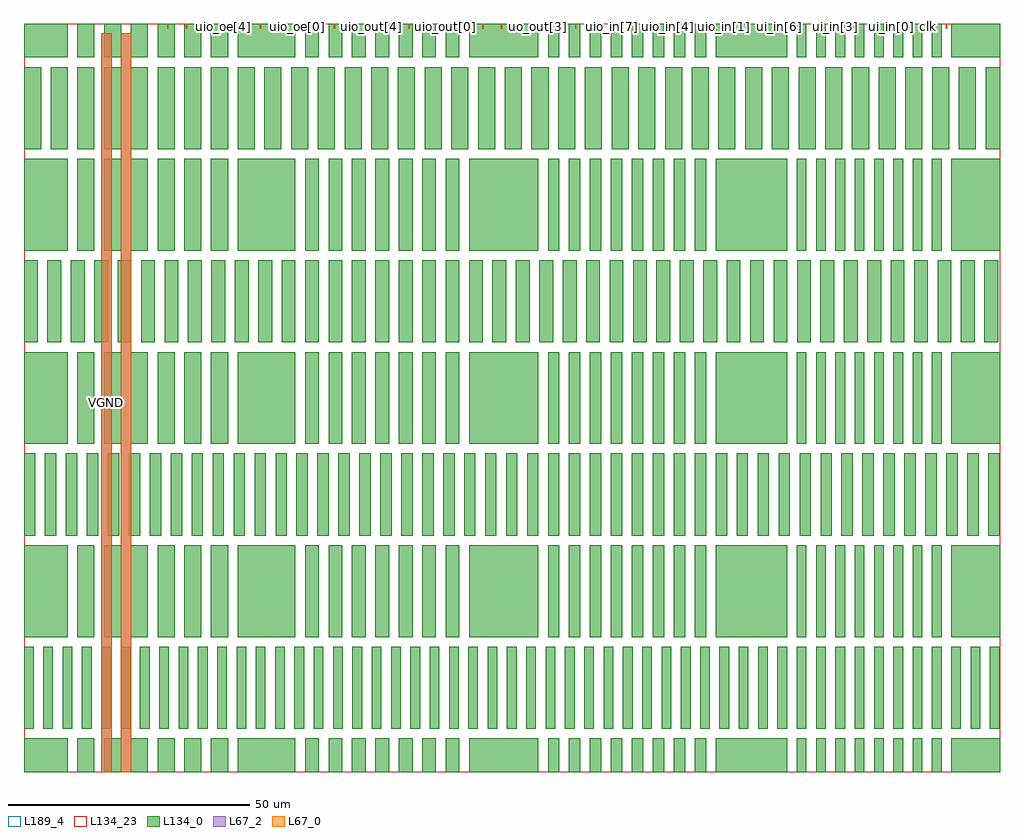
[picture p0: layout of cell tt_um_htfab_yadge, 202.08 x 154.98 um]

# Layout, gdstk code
import gdstk
lib = gdstk.Library(unit=1e-6, precision=1e-09)
def R(c, l, rs):  # rectangles x0, y0, x1, y1
    for r in rs: c.add(gdstk.rectangle(r[:2], r[2:], *l))
def A(c, l, x, y, w, h, nx, ny, dx, dy):  # array of equal rectangles
    R(c, l, [(x+i*dx, y+j*dy, x+i*dx+w, y+j*dy+h) for i in range(nx) for j in range(ny)])
L67_0 = (67, 0)
L67_2 = (67, 2)
L134_0 = (134, 0)
L134_23 = (134, 23)
L189_4 = (189, 4)

pattern_r0 = lib.new_cell('pattern_R0')
R(pattern_r0, L134_0, [(0,0,3.53,17)])

pattern_r1 = lib.new_cell('pattern_R1')
R(pattern_r1, L134_0, [(0,0,3.53,7)])

pattern_r2 = lib.new_cell('pattern_R2')
R(pattern_r2, L134_0, [(0,0,3.53,19)])

pattern_r3 = lib.new_cell('pattern_R3')
R(pattern_r3, L134_0, [(0,0,3.53,19)])

pattern_r4 = lib.new_cell('pattern_R4')
R(pattern_r4, L134_0, [(0,0,3.53,19)])

pattern_r5 = lib.new_cell('pattern_R5')
R(pattern_r5, L134_0, [(0,0,3.53,6.98)])

pattern_y0 = lib.new_cell('pattern_Y0')
R(pattern_y0, L134_0, [(0,0,2.85,17)])

pattern_y1 = lib.new_cell('pattern_Y1')
R(pattern_y1, L134_0, [(0,0,2.85,7)])

pattern_y2 = lib.new_cell('pattern_Y2')
R(pattern_y2, L134_0, [(0,0,2.85,19)])

pattern_y3 = lib.new_cell('pattern_Y3')
R(pattern_y3, L134_0, [(0,0,2.85,19)])

pattern_y4 = lib.new_cell('pattern_Y4')
R(pattern_y4, L134_0, [(0,0,2.85,19)])

pattern_y5 = lib.new_cell('pattern_Y5')
R(pattern_y5, L134_0, [(0,0,2.85,6.98)])

pattern_g0 = lib.new_cell('pattern_G0')
R(pattern_g0, L134_0, [(0,0,2.34,17)])

pattern_g1 = lib.new_cell('pattern_G1')
R(pattern_g1, L134_0, [(0,0,2.34,7)])

pattern_g2 = lib.new_cell('pattern_G2')
R(pattern_g2, L134_0, [(0,0,2.34,19)])

pattern_g3 = lib.new_cell('pattern_G3')
R(pattern_g3, L134_0, [(0,0,2.34,19)])

pattern_g4 = lib.new_cell('pattern_G4')
R(pattern_g4, L134_0, [(0,0,2.34,19)])

pattern_g5 = lib.new_cell('pattern_G5')
R(pattern_g5, L134_0, [(0,0,2.34,6.98)])

pattern_b0 = lib.new_cell('pattern_B0')
R(pattern_b0, L134_0, [(0,0,2,17)])

pattern_b1 = lib.new_cell('pattern_B1')
R(pattern_b1, L134_0, [(0,0,2,7)])

pattern_b2 = lib.new_cell('pattern_B2')
R(pattern_b2, L134_0, [(0,0,2,19)])

pattern_b3 = lib.new_cell('pattern_B3')
R(pattern_b3, L134_0, [(0,0,2,19)])

pattern_b4 = lib.new_cell('pattern_B4')
R(pattern_b4, L134_0, [(0,0,2,19)])

pattern_b5 = lib.new_cell('pattern_B5')
R(pattern_b5, L134_0, [(0,0,2,6.98)])

pattern_i0 = lib.new_cell('pattern_I0')
R(pattern_i0, L134_0, [(0,0,9.06,7)])

pattern_i1 = lib.new_cell('pattern_I1')
R(pattern_i1, L134_0, [(0,0,11.96,7)])

pattern_i2 = lib.new_cell('pattern_I2')
R(pattern_i2, L134_0, [(0,0,14.35,7)])

pattern_i3 = lib.new_cell('pattern_I3')
R(pattern_i3, L134_0, [(0,0,14.78,7)])

pattern_i4 = lib.new_cell('pattern_I4')
R(pattern_i4, L134_0, [(0,0,10.08,7)])

pattern_i5 = lib.new_cell('pattern_I5')
R(pattern_i5, L134_0, [(0,0,9.06,19)])

pattern_i6 = lib.new_cell('pattern_I6')
R(pattern_i6, L134_0, [(0,0,11.96,19)])

pattern_i7 = lib.new_cell('pattern_I7')
R(pattern_i7, L134_0, [(0,0,14.35,19)])

pattern_i8 = lib.new_cell('pattern_I8')
R(pattern_i8, L134_0, [(0,0,14.78,19)])

pattern_i9 = lib.new_cell('pattern_I9')
R(pattern_i9, L134_0, [(0,0,10.08,19)])

pattern_i10 = lib.new_cell('pattern_I10')
R(pattern_i10, L134_0, [(0,0,9.06,19)])

pattern_i11 = lib.new_cell('pattern_I11')
R(pattern_i11, L134_0, [(0,0,11.96,19)])

pattern_i12 = lib.new_cell('pattern_I12')
R(pattern_i12, L134_0, [(0,0,14.35,19)])

pattern_i13 = lib.new_cell('pattern_I13')
R(pattern_i13, L134_0, [(0,0,14.78,19)])

pattern_i14 = lib.new_cell('pattern_I14')
R(pattern_i14, L134_0, [(0,0,10.08,19)])

pattern_i15 = lib.new_cell('pattern_I15')
R(pattern_i15, L134_0, [(0,0,9.06,19)])

pattern_i16 = lib.new_cell('pattern_I16')
R(pattern_i16, L134_0, [(0,0,11.96,19)])

pattern_i17 = lib.new_cell('pattern_I17')
R(pattern_i17, L134_0, [(0,0,14.35,19)])

pattern_i18 = lib.new_cell('pattern_I18')
R(pattern_i18, L134_0, [(0,0,14.78,19)])

pattern_i19 = lib.new_cell('pattern_I19')
R(pattern_i19, L134_0, [(0,0,10.08,19)])

pattern_i20 = lib.new_cell('pattern_I20')
R(pattern_i20, L134_0, [(0,0,9.06,6.98)])

pattern_i21 = lib.new_cell('pattern_I21')
R(pattern_i21, L134_0, [(0,0,11.96,6.98)])

pattern_i22 = lib.new_cell('pattern_I22')
R(pattern_i22, L134_0, [(0,0,14.35,6.98)])

pattern_i23 = lib.new_cell('pattern_I23')
R(pattern_i23, L134_0, [(0,0,14.78,6.98)])

pattern_i24 = lib.new_cell('pattern_I24')
R(pattern_i24, L134_0, [(0,0,10.08,6.98)])

pattern_rx = lib.new_cell('pattern_Rx')
R(pattern_rx, L134_0, [(0,0,3,17)])

tt_um_htfab_yadge = lib.new_cell('tt_um_htfab_yadge')
A(tt_um_htfab_yadge, L67_0, 29.61, 153.98, 0.3, 1, 43, 1, 3.84, 0)
R(tt_um_htfab_yadge, L67_0, [(16,0,18.2,152.98), (20,0,22.2,152.98)])
A(tt_um_htfab_yadge, L67_2, 29.61, 153.98, 0.3, 1, 43, 1, 3.84, 0)
R(tt_um_htfab_yadge, L67_2, [(16,0,18.2,152.98), (20,0,22.2,152.98)])
R(tt_um_htfab_yadge, L134_23, [(0,0,202.08,154.98)])
R(tt_um_htfab_yadge, L189_4, [(0,0,202.08,154.98)])
r = gdstk.Reference(pattern_r0, (0,129)); r.repetition = gdstk.Repetition(36, 1, v1=(5.53,0), v2=(0,5.53)); tt_um_htfab_yadge.add(r)
r = gdstk.Reference(pattern_r1, (11.06,0)); r.repetition = gdstk.Repetition(6, 1, v1=(5.53,0), v2=(0,5.53)); tt_um_htfab_yadge.add(r)
r = gdstk.Reference(pattern_r2, (11.06,28)); r.repetition = gdstk.Repetition(6, 1, v1=(5.53,0), v2=(0,5.53)); tt_um_htfab_yadge.add(r)
r = gdstk.Reference(pattern_r3, (11.06,68)); r.repetition = gdstk.Repetition(6, 1, v1=(5.53,0), v2=(0,5.53)); tt_um_htfab_yadge.add(r)
r = gdstk.Reference(pattern_r4, (11.06,108)); r.repetition = gdstk.Repetition(6, 1, v1=(5.53,0), v2=(0,5.53)); tt_um_htfab_yadge.add(r)
r = gdstk.Reference(pattern_r5, (11.06,148)); r.repetition = gdstk.Repetition(6, 1, v1=(5.53,0), v2=(0,5.53)); tt_um_htfab_yadge.add(r)
r = gdstk.Reference(pattern_y0, (0,89)); r.repetition = gdstk.Repetition(42, 1, v1=(4.85,0), v2=(0,4.85)); tt_um_htfab_yadge.add(r)
r = gdstk.Reference(pattern_y1, (58.2,0)); r.repetition = gdstk.Repetition(7, 1, v1=(4.85,0), v2=(0,4.85)); tt_um_htfab_yadge.add(r)
r = gdstk.Reference(pattern_y2, (58.2,28)); r.repetition = gdstk.Repetition(7, 1, v1=(4.85,0), v2=(0,4.85)); tt_um_htfab_yadge.add(r)
r = gdstk.Reference(pattern_y3, (58.2,68)); r.repetition = gdstk.Repetition(7, 1, v1=(4.85,0), v2=(0,4.85)); tt_um_htfab_yadge.add(r)
r = gdstk.Reference(pattern_y4, (58.2,108)); r.repetition = gdstk.Repetition(7, 1, v1=(4.85,0), v2=(0,4.85)); tt_um_htfab_yadge.add(r)
r = gdstk.Reference(pattern_y5, (58.2,148)); r.repetition = gdstk.Repetition(7, 1, v1=(4.85,0), v2=(0,4.85)); tt_um_htfab_yadge.add(r)
r = gdstk.Reference(pattern_g0, (0,49)); r.repetition = gdstk.Repetition(47, 1, v1=(4.34,0), v2=(0,4.34)); tt_um_htfab_yadge.add(r)
r = gdstk.Reference(pattern_g1, (108.5,0)); r.repetition = gdstk.Repetition(8, 1, v1=(4.34,0), v2=(0,4.34)); tt_um_htfab_yadge.add(r)
r = gdstk.Reference(pattern_g2, (108.5,28)); r.repetition = gdstk.Repetition(8, 1, v1=(4.34,0), v2=(0,4.34)); tt_um_htfab_yadge.add(r)
r = gdstk.Reference(pattern_g3, (108.5,68)); r.repetition = gdstk.Repetition(8, 1, v1=(4.34,0), v2=(0,4.34)); tt_um_htfab_yadge.add(r)
r = gdstk.Reference(pattern_g4, (108.5,108)); r.repetition = gdstk.Repetition(8, 1, v1=(4.34,0), v2=(0,4.34)); tt_um_htfab_yadge.add(r)
r = gdstk.Reference(pattern_g5, (108.5,148)); r.repetition = gdstk.Repetition(8, 1, v1=(4.34,0), v2=(0,4.34)); tt_um_htfab_yadge.add(r)
r = gdstk.Reference(pattern_b0, (0,9)); r.repetition = gdstk.Repetition(51, 1, v1=(4,0), v2=(0,4)); tt_um_htfab_yadge.add(r)
r = gdstk.Reference(pattern_b1, (160,0)); r.repetition = gdstk.Repetition(8, 1, v1=(4,0), v2=(0,4)); tt_um_htfab_yadge.add(r)
r = gdstk.Reference(pattern_b2, (160,28)); r.repetition = gdstk.Repetition(8, 1, v1=(4,0), v2=(0,4)); tt_um_htfab_yadge.add(r)
r = gdstk.Reference(pattern_b3, (160,68)); r.repetition = gdstk.Repetition(8, 1, v1=(4,0), v2=(0,4)); tt_um_htfab_yadge.add(r)
r = gdstk.Reference(pattern_b4, (160,108)); r.repetition = gdstk.Repetition(8, 1, v1=(4,0), v2=(0,4)); tt_um_htfab_yadge.add(r)
r = gdstk.Reference(pattern_b5, (160,148)); r.repetition = gdstk.Repetition(8, 1, v1=(4,0), v2=(0,4)); tt_um_htfab_yadge.add(r)
r = gdstk.Reference(pattern_i0, (0,0)); r.repetition = gdstk.Repetition(1, 1, v1=(6.47,0), v2=(0,6.47)); tt_um_htfab_yadge.add(r)
r = gdstk.Reference(pattern_i1, (44.24,0)); r.repetition = gdstk.Repetition(1, 1, v1=(6.47,0), v2=(0,6.47)); tt_um_htfab_yadge.add(r)
r = gdstk.Reference(pattern_i2, (92.15,0)); r.repetition = gdstk.Repetition(1, 1, v1=(6.47,0), v2=(0,6.47)); tt_um_htfab_yadge.add(r)
r = gdstk.Reference(pattern_i3, (143.22,0)); r.repetition = gdstk.Repetition(1, 1, v1=(6.47,0), v2=(0,6.47)); tt_um_htfab_yadge.add(r)
r = gdstk.Reference(pattern_i4, (192,0)); r.repetition = gdstk.Repetition(1, 1, v1=(6.47,0), v2=(0,6.47)); tt_um_htfab_yadge.add(r)
r = gdstk.Reference(pattern_i5, (0,28)); r.repetition = gdstk.Repetition(1, 1, v1=(6.47,0), v2=(0,6.47)); tt_um_htfab_yadge.add(r)
r = gdstk.Reference(pattern_i6, (44.24,28)); r.repetition = gdstk.Repetition(1, 1, v1=(6.47,0), v2=(0,6.47)); tt_um_htfab_yadge.add(r)
r = gdstk.Reference(pattern_i7, (92.15,28)); r.repetition = gdstk.Repetition(1, 1, v1=(6.47,0), v2=(0,6.47)); tt_um_htfab_yadge.add(r)
r = gdstk.Reference(pattern_i8, (143.22,28)); r.repetition = gdstk.Repetition(1, 1, v1=(6.47,0), v2=(0,6.47)); tt_um_htfab_yadge.add(r)
r = gdstk.Reference(pattern_i9, (192,28)); r.repetition = gdstk.Repetition(1, 1, v1=(6.47,0), v2=(0,6.47)); tt_um_htfab_yadge.add(r)
r = gdstk.Reference(pattern_i10, (0,68)); r.repetition = gdstk.Repetition(1, 1, v1=(6.47,0), v2=(0,6.47)); tt_um_htfab_yadge.add(r)
r = gdstk.Reference(pattern_i11, (44.24,68)); r.repetition = gdstk.Repetition(1, 1, v1=(6.47,0), v2=(0,6.47)); tt_um_htfab_yadge.add(r)
r = gdstk.Reference(pattern_i12, (92.15,68)); r.repetition = gdstk.Repetition(1, 1, v1=(6.47,0), v2=(0,6.47)); tt_um_htfab_yadge.add(r)
r = gdstk.Reference(pattern_i13, (143.22,68)); r.repetition = gdstk.Repetition(1, 1, v1=(6.47,0), v2=(0,6.47)); tt_um_htfab_yadge.add(r)
r = gdstk.Reference(pattern_i14, (192,68)); r.repetition = gdstk.Repetition(1, 1, v1=(6.47,0), v2=(0,6.47)); tt_um_htfab_yadge.add(r)
r = gdstk.Reference(pattern_i15, (0,108)); r.repetition = gdstk.Repetition(1, 1, v1=(6.47,0), v2=(0,6.47)); tt_um_htfab_yadge.add(r)
r = gdstk.Reference(pattern_i16, (44.24,108)); r.repetition = gdstk.Repetition(1, 1, v1=(6.47,0), v2=(0,6.47)); tt_um_htfab_yadge.add(r)
r = gdstk.Reference(pattern_i17, (92.15,108)); r.repetition = gdstk.Repetition(1, 1, v1=(6.47,0), v2=(0,6.47)); tt_um_htfab_yadge.add(r)
r = gdstk.Reference(pattern_i18, (143.22,108)); r.repetition = gdstk.Repetition(1, 1, v1=(6.47,0), v2=(0,6.47)); tt_um_htfab_yadge.add(r)
r = gdstk.Reference(pattern_i19, (192,108)); r.repetition = gdstk.Repetition(1, 1, v1=(6.47,0), v2=(0,6.47)); tt_um_htfab_yadge.add(r)
r = gdstk.Reference(pattern_i20, (0,148)); r.repetition = gdstk.Repetition(1, 1, v1=(6.47,0), v2=(0,6.47)); tt_um_htfab_yadge.add(r)
r = gdstk.Reference(pattern_i21, (44.24,148)); r.repetition = gdstk.Repetition(1, 1, v1=(6.47,0), v2=(0,6.47)); tt_um_htfab_yadge.add(r)
r = gdstk.Reference(pattern_i22, (92.15,148)); r.repetition = gdstk.Repetition(1, 1, v1=(6.47,0), v2=(0,6.47)); tt_um_htfab_yadge.add(r)
r = gdstk.Reference(pattern_i23, (143.22,148)); r.repetition = gdstk.Repetition(1, 1, v1=(6.47,0), v2=(0,6.47)); tt_um_htfab_yadge.add(r)
r = gdstk.Reference(pattern_i24, (192,148)); r.repetition = gdstk.Repetition(1, 1, v1=(6.47,0), v2=(0,6.47)); tt_um_htfab_yadge.add(r)
tt_um_htfab_yadge.add(gdstk.Reference(pattern_rx, (199.08,129)))
tt_um_htfab_yadge.add(gdstk.Label('clk', (187.2,154.48), layer=67, texttype=25))
tt_um_htfab_yadge.add(gdstk.Label('ena', (191.04,154.48), layer=67, texttype=25))
tt_um_htfab_yadge.add(gdstk.Label('rst_n', (183.36,154.48), layer=67, texttype=25))
tt_um_htfab_yadge.add(gdstk.Label('ui_in[0]', (179.52,154.48), layer=67, texttype=25))
tt_um_htfab_yadge.add(gdstk.Label('ui_in[1]', (175.68,154.48), layer=67, texttype=25))
tt_um_htfab_yadge.add(gdstk.Label('ui_in[2]', (171.84,154.48), layer=67, texttype=25))
tt_um_htfab_yadge.add(gdstk.Label('ui_in[3]', (168,154.48), layer=67, texttype=25))
tt_um_htfab_yadge.add(gdstk.Label('ui_in[4]', (164.16,154.48), layer=67, texttype=25))
tt_um_htfab_yadge.add(gdstk.Label('ui_in[5]', (160.32,154.48), layer=67, texttype=25))
tt_um_htfab_yadge.add(gdstk.Label('ui_in[6]', (156.48,154.48), layer=67, texttype=25))
tt_um_htfab_yadge.add(gdstk.Label('ui_in[7]', (152.64,154.48), layer=67, texttype=25))
tt_um_htfab_yadge.add(gdstk.Label('uio_in[0]', (148.8,154.48), layer=67, texttype=25))
tt_um_htfab_yadge.add(gdstk.Label('uio_in[1]', (144.96,154.48), layer=67, texttype=25))
tt_um_htfab_yadge.add(gdstk.Label('uio_in[2]', (141.12,154.48), layer=67, texttype=25))
tt_um_htfab_yadge.add(gdstk.Label('uio_in[3]', (137.28,154.48), layer=67, texttype=25))
tt_um_htfab_yadge.add(gdstk.Label('uio_in[4]', (133.44,154.48), layer=67, texttype=25))
tt_um_htfab_yadge.add(gdstk.Label('uio_in[5]', (129.6,154.48), layer=67, texttype=25))
tt_um_htfab_yadge.add(gdstk.Label('uio_in[6]', (125.76,154.48), layer=67, texttype=25))
tt_um_htfab_yadge.add(gdstk.Label('uio_in[7]', (121.92,154.48), layer=67, texttype=25))
tt_um_htfab_yadge.add(gdstk.Label('uio_oe[0]', (56.64,154.48), layer=67, texttype=25))
tt_um_htfab_yadge.add(gdstk.Label('uio_oe[1]', (52.8,154.48), layer=67, texttype=25))
tt_um_htfab_yadge.add(gdstk.Label('uio_oe[2]', (48.96,154.48), layer=67, texttype=25))
tt_um_htfab_yadge.add(gdstk.Label('uio_oe[3]', (45.12,154.48), layer=67, texttype=25))
tt_um_htfab_yadge.add(gdstk.Label('uio_oe[4]', (41.28,154.48), layer=67, texttype=25))
tt_um_htfab_yadge.add(gdstk.Label('uio_oe[5]', (37.44,154.48), layer=67, texttype=25))
tt_um_htfab_yadge.add(gdstk.Label('uio_oe[6]', (33.6,154.48), layer=67, texttype=25))
tt_um_htfab_yadge.add(gdstk.Label('uio_oe[7]', (29.76,154.48), layer=67, texttype=25))
tt_um_htfab_yadge.add(gdstk.Label('uio_out[0]', (87.36,154.48), layer=67, texttype=25))
tt_um_htfab_yadge.add(gdstk.Label('uio_out[1]', (83.52,154.48), layer=67, texttype=25))
tt_um_htfab_yadge.add(gdstk.Label('uio_out[2]', (79.68,154.48), layer=67, texttype=25))
tt_um_htfab_yadge.add(gdstk.Label('uio_out[3]', (75.84,154.48), layer=67, texttype=25))
tt_um_htfab_yadge.add(gdstk.Label('uio_out[4]', (72,154.48), layer=67, texttype=25))
tt_um_htfab_yadge.add(gdstk.Label('uio_out[5]', (68.16,154.48), layer=67, texttype=25))
tt_um_htfab_yadge.add(gdstk.Label('uio_out[6]', (64.32,154.48), layer=67, texttype=25))
tt_um_htfab_yadge.add(gdstk.Label('uio_out[7]', (60.48,154.48), layer=67, texttype=25))
tt_um_htfab_yadge.add(gdstk.Label('uo_out[0]', (118.08,154.48), layer=67, texttype=25))
tt_um_htfab_yadge.add(gdstk.Label('uo_out[1]', (114.24,154.48), layer=67, texttype=25))
tt_um_htfab_yadge.add(gdstk.Label('uo_out[2]', (110.4,154.48), layer=67, texttype=25))
tt_um_htfab_yadge.add(gdstk.Label('uo_out[3]', (106.56,154.48), layer=67, texttype=25))
tt_um_htfab_yadge.add(gdstk.Label('uo_out[4]', (102.72,154.48), layer=67, texttype=25))
tt_um_htfab_yadge.add(gdstk.Label('uo_out[5]', (98.88,154.48), layer=67, texttype=25))
tt_um_htfab_yadge.add(gdstk.Label('uo_out[6]', (95.04,154.48), layer=67, texttype=25))
tt_um_htfab_yadge.add(gdstk.Label('uo_out[7]', (91.2,154.48), layer=67, texttype=25))
tt_um_htfab_yadge.add(gdstk.Label('VGND', (17.1,76.49), layer=67, texttype=25))
tt_um_htfab_yadge.add(gdstk.Label('VPWR', (21.1,76.49), layer=67, texttype=25))

lib.write_gds('tt_um_htfab_yadge.gds')
